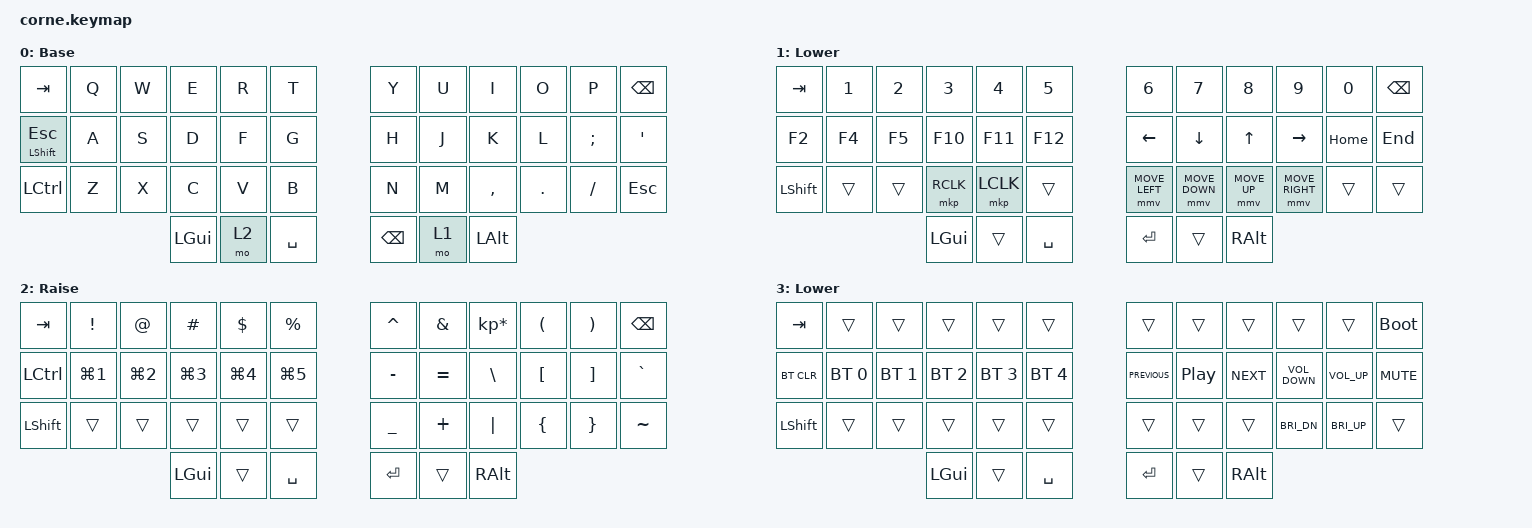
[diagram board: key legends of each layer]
/*
 * Copyright (c) 2020 The ZMK Contributors
 *
 * SPDX-License-Identifier: MIT
 */

#include <behaviors.dtsi>
#include <dt-bindings/zmk/bt.h>
#include <dt-bindings/zmk/keys.h>
#include <dt-bindings/zmk/pointing.h>

/ {
    combos {
        compatible = "zmk,combos";

        thirdLayer {
            bindings = <&mo 0>;
            key-positions = <37 40>;
        };
    };

    keymap {
        compatible = "zmk,keymap";

        default_layer {
            // -----------------------------------------------------------------------------------------
            // |  TAB |  Q  |  W  |  E  |  R  |  T  |   |  Y  |  U   |  I  |  O  |  P  | BKSP |
            // | CTRL |  A  |  S  |  D  |  F  |  G  |   |  H  |  J   |  K  |  L  |  ;  |  '   |
            // | SHFT |  Z  |  X  |  C  |  V  |  B  |   |  N  |  M   |  ,  |  .  |  /  | ESC  |
            //                    | GUI | LWR | SPC |   | ENT | RSE  | ALT |

            display-name = "Base";
            bindings = <
&kp TAB                &kp Q  &kp W  &kp E     &kp R  &kp T        &kp Y          &kp U  &kp I         &kp O    &kp P          &kp BSPC
&mt LEFT_SHIFT ESCAPE  &kp A  &kp S  &kp D     &kp F  &kp G        &kp H          &kp J  &kp K         &kp L    &kp SEMICOLON  &kp APOSTROPHE
&kp LCTRL              &kp Z  &kp X  &kp C     &kp V  &kp B        &kp N          &kp M  &kp COMMA     &kp DOT  &kp SLASH      &kp ESC
                                     &kp LGUI  &mo 2  &kp SPACE    &kp BACKSPACE  &mo 1  &kp LEFT_ALT
            >;
        };

        nav_num {
            // -----------------------------------------------------------------------------------------
            // |  TAB |  1  |  2  |  3  |  4  |  5  |   |  6  |  7  |  8  |  9  |  0  | BKSP |
            // | BTCLR| BT1 | BT2 | BT3 | BT4 | BT5 |   | LFT | DWN |  UP | RGT |     |      |
            // | SHFT |     |     |     |     |     |   |     |     |     |     |     |      |
            //                    | GUI |     | SPC |   | ENT |     | ALT |

            display-name = "Lower";
            bindings = <
&kp TAB    &kp N1  &kp N2  &kp N3     &kp N4     &kp N5       &kp N6          &kp N7          &kp N8        &kp N9           &kp N0    &kp BSPC
&kp F2     &kp F4  &kp F5  &kp F10    &kp F11    &kp F12      &kp LEFT        &kp DOWN        &kp UP        &kp RIGHT        &kp HOME  &kp END
&kp LSHFT  &trans  &trans  &mkp RCLK  &mkp LCLK  &trans       &mmv MOVE_LEFT  &mmv MOVE_DOWN  &mmv MOVE_UP  &mmv MOVE_RIGHT  &trans    &trans
                           &kp LGUI   &trans     &kp SPACE    &kp RET         &trans          &kp RALT
            >;
        };

        symbols {
            // -----------------------------------------------------------------------------------------
            // |  TAB |  !  |  @  |  #  |  $  |  %  |   |  ^  |  &  |  *  |  (  |  )  | BKSP |
            // | CTRL |     |     |     |     |     |   |  -  |  =  |  [  |  ]  |  \  |  `   |
            // | SHFT |     |     |     |     |     |   |  _  |  +  |  {  |  }  | "|" |  ~   |
            //                    | GUI |     | SPC |   | ENT |     | ALT |

            display-name = "Raise";
            bindings = <
&kp TAB    &kp EXCL          &kp AT            &kp HASH          &kp DLLR          &kp PRCNT     &kp CARET  &kp AMPS   &kp KP_MULTIPLY  &kp LPAR          &kp RPAR           &kp BSPC
&kp LCTRL  &kp LG(NUMBER_1)  &kp LG(NUMBER_2)  &kp LG(NUMBER_3)  &kp LG(NUMBER_4)  &kp LG(N5)    &kp MINUS  &kp EQUAL  &kp BACKSLASH    &kp LEFT_BRACKET  &kp RIGHT_BRACKET  &kp GRAVE
&kp LSHFT  &trans            &trans            &trans            &trans            &trans        &kp UNDER  &kp PLUS   &kp PIPE         &kp LEFT_BRACE    &kp RIGHT_BRACE    &kp TILDE
                                               &kp LGUI          &trans            &kp SPACE     &kp RET    &trans     &kp RALT
            >;
        };

        settings {
            display-name = "Lower";
            bindings = <
&kp TAB     &trans        &trans        &trans        &trans        &trans          &trans          &trans            &trans      &trans             &trans           &bootloader
&bt BT_CLR  &bt BT_SEL 0  &bt BT_SEL 1  &bt BT_SEL 2  &bt BT_SEL 3  &bt BT_SEL 4    &kp C_PREVIOUS  &kp C_PLAY_PAUSE  &kp C_NEXT  &kp C_VOLUME_DOWN  &kp C_VOLUME_UP  &kp C_MUTE
&kp LSHFT   &trans        &trans        &trans        &trans        &trans          &trans          &trans            &trans      &kp C_BRI_DN       &kp C_BRI_UP     &trans
                                        &kp LGUI      &trans        &kp SPACE       &kp RET         &trans            &kp RALT
            >;
        };
    };
};
